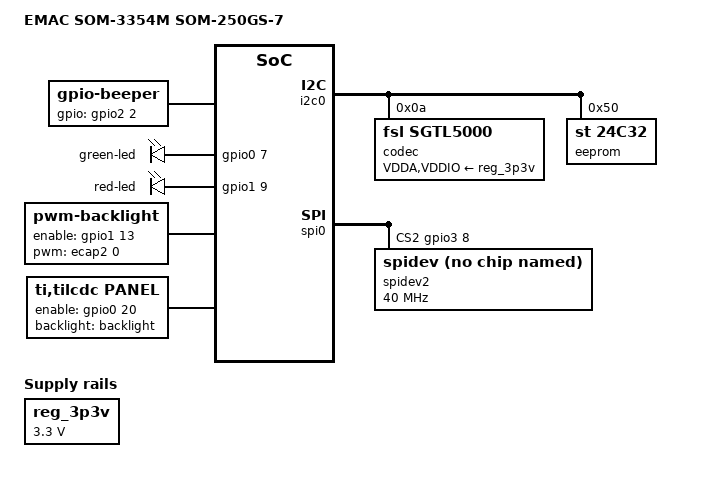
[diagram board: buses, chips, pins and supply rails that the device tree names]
/*
 * som-3354-250gs-7.dts - Device Tree file for the SOM-3354M with SOM-250GS
 *                        w/ 7 inch display
 *
 * Copyright (C) 2017 EMAC Inc.
 * Copyright (C) 2017 QWERTY Embedded Design
 *
 * This program is free software; you can redistribute it and/or modify
 * it under the terms of the GNU General Public License version 2 as
 * published by the Free Software Foundation.
 */

/dts-v1/;

#include "som-3354.dtsi"

/ {
	model = "EMAC SOM-3354M SOM-250GS-7";

	beeper {
		compatible = "gpio-beeper";
		gpios = <&gpio2 2 GPIO_ACTIVE_HIGH>;
		status = "okay";
	};

	leds {
		pinctrl-names = "default";
		pinctrl-0 = <&leds_pins>;

		compatible = "gpio-leds";

		led@1 {
			label = "green-led";
			gpios = <&gpio0 7 GPIO_ACTIVE_HIGH>;
			default-state = "on";
		};

		led@2 {
			label = "red-led";
			gpios = <&gpio1 9 GPIO_ACTIVE_HIGH>;
			default-state = "on";
		};
	};

	backlight: backlight {
		compatible = "pwm-backlight";
		pwms = <&ecap2 0 50000 0>;
		enable-gpios = <&gpio1 13 GPIO_ACTIVE_HIGH>;
		brightness-levels = <0 10 20 30 40 50 60 70 80 90 100>;
		default-brightness-level = <9>;
	};

	regulators {
		compatible = "simple-bus";
		#address-cells = <1>;
		#size-cells = <0>;

		reg_3p3v: regulator@0 {
			compatible = "regulator-fixed";
			reg = <0>;
			regulator-name = "3P3V";
			regulator-min-microvolt = <3300000>;
			regulator-max-microvolt = <3300000>;
			regulator-always-on;
		};
	};

	panel {
		compatible = "ti,tilcdc,panel";
		pinctrl-names = "default";
		pinctrl-0 = <&lcd_pins>;
		status = "okay";
		backlight = <&backlight>;
		enable-gpios = <&gpio0 20 GPIO_ACTIVE_HIGH>;

		panel-info {
			ac-bias		= <255>;
			ac-bias-intrpt	= <0>;
			dma-burst-sz	= <16>;
			bpp		= <16>;
			fdd		= <0x80>;
			tft-alt-mode	= <0>;
			stn-565-mode	= <0>;
			mono-8bit-mode	= <0>;
			sync-edge	= <0>;
			sync-ctrl	= <0>;
			raster-order	= <1>;
			fifo-th		= <0>;
		};

		display-timings {
			native-mode = <&timing1>;
			timing1: 800x480 {
				hactive		= <800>;
				vactive		= <480>;
				hback-porch     = <86>;
				hfront-porch    = <42>;
				hsync-len       = <128>;
				vback-porch     = <33>;
				vfront-porch    = <10>;
				vsync-len       = <2>;
				clock-frequency = <32000000>;
				hsync-active    = <0>;
				vsync-active    = <0>;
				de-active = <1>;
				pixelclk-active = <1>;
			};
		};
	};

	sound {
		compatible = "simple-audio-card";
		simple-audio-card,format = "i2s";
		simple-audio-card,name = "som-250gs sgtl5000";
		simple-audio-card,widgets =
			"Microphone", "Microphone Jack",
			"Headphone", "Headphone Jack",
			"Speaker", "Speaker Ext",
			"Line", "Line In Jack";
		simple-audio-card,routing =
			"MIC_IN", "Microphone Jack",
			"Microphone Jack", "Mic Bias",
			"LINE_IN", "Line In Jack",
			"Headphone Jack", "HP_OUT",
			"Speaker Ext", "LINE_OUT";

		simple-audio-card,cpu {
			sound-dai = <&mcasp0>;
		};

		sound_master: simple-audio-card,codec {
			sound-dai = <&codec>;
			frame-master;
			bitclock-master;
		};
	};
};

&i2c0 {
	status = "okay";

	codec: sgtl5000@0a {
		#sound-dai-cells = <0>;
		compatible = "fsl,sgtl5000";
		reg = <0x0a>;
		VDDA-supply = <&reg_3p3v>;
		VDDIO-supply = <&reg_3p3v>;
		clocks = <&si5351 2>;
	};

	eeprom@50 {
		compatible = "st,24c32";
		reg = <0x50>;
		pagesize = <32>;
	};
};

&spi0 {
	cs-gpios = <&gpio0 5 0>, <&gpio0 6 0>, <&gpio3 8 0>, <&gpio3 18 0>;

	spidev2: spidev@2 {
		compatible = "emac,spidev";
		reg = <2>;
		spi-max-frequency = <40000000>;
		status = "okay";
	};
};
